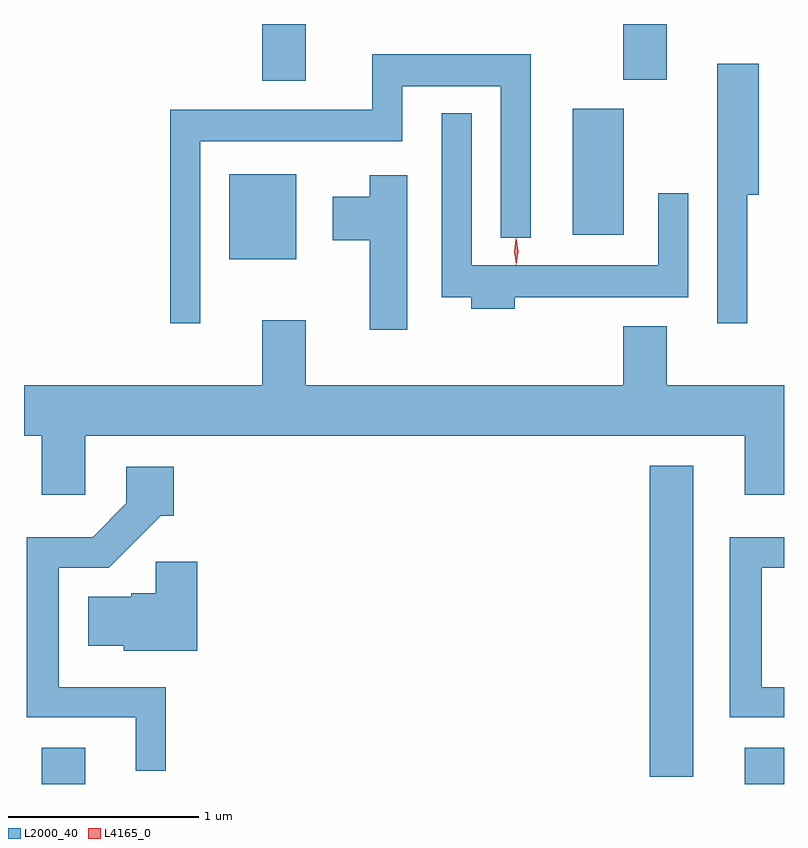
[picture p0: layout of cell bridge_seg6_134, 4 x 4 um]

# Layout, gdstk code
import gdstk
lib = gdstk.Library(unit=1e-6, precision=1e-09)
def R(c, l, rs):  # rectangles x0, y0, x1, y1
    for r in rs: c.add(gdstk.rectangle(r[:2], r[2:], *l))
def P(c, l, *ps):  # polygons
    for p in ps: c.add(gdstk.Polygon(p, *l))
L2000_40 = (2000, 40)
L4165_0 = (4165, 0)

bridge_seg6_134 = lib.new_cell('bridge_seg6_134')
R(bridge_seg6_134, L2000_40, [(1178.161,1625.904,1178.389,1626.094), (1181.861,1625.904,1182.067,1626.094), (1181.361,1625.941,1181.589,1627.579), (1179.146,1628.666,1179.499,1629.114), (1180.956,1628.796,1181.224,1629.459), (1179.321,1629.606,1179.549,1629.904), (1181.221,1629.611,1181.449,1629.904)])
P(bridge_seg6_134, L2000_40, [(1178.994,1629.286),(1180.059,1629.286),(1180.059,1629.576),(1180.576,1629.576),(1180.576,1628.778),(1180.734,1628.778),(1180.734,1629.744),(1179.901,1629.744),(1179.901,1629.454),(1178.836,1629.454),(1178.836,1628.328),(1178.994,1628.328)],
  [(1181.874,1629.006),(1181.934,1629.006),(1181.934,1629.694),(1181.716,1629.694),(1181.716,1628.328),(1181.874,1628.328)],
  [(1180.649,1628.466),(1181.564,1628.466),(1181.564,1629.013),(1181.406,1629.013),(1181.406,1628.634),(1180.424,1628.634),(1180.424,1629.433),(1180.266,1629.433),(1180.266,1628.466),(1180.421,1628.466),(1180.421,1628.406),(1180.649,1628.406)],
  [(1180.084,1629.109),(1179.886,1629.109),(1179.886,1628.994),(1179.691,1628.994),(1179.691,1628.766),(1179.886,1628.766),(1179.886,1628.296),(1180.084,1628.296)],
  [(1178.389,1627.736),(1181.861,1627.736),(1181.861,1627.426),(1182.067,1627.426),(1182.067,1628.004),(1181.449,1628.004),(1181.449,1628.314),(1181.221,1628.314),(1181.221,1628.004),(1179.549,1628.004),(1179.549,1628.344),(1179.321,1628.344),(1179.321,1628.004),(1178.067,1628.004),(1178.067,1627.736),(1178.161,1627.736),(1178.161,1627.426),(1178.389,1627.426)],
  [(1178.814,1626.414),(1178.249,1626.414),(1178.249,1627.041),(1178.512,1627.041),(1178.787,1627.316),(1178.854,1627.316),(1178.854,1627.574),(1178.606,1627.574),(1178.606,1627.382),(1178.429,1627.204),(1178.081,1627.204),(1178.081,1626.256),(1178.656,1626.256),(1178.656,1625.973),(1178.814,1625.973)],
  [(1182.067,1626.414),(1181.949,1626.414),(1181.949,1627.041),(1182.067,1627.041),(1182.067,1627.204),(1181.781,1627.204),(1181.781,1626.256),(1182.067,1626.256)],
  [(1178.979,1627.074),(1178.761,1627.074),(1178.761,1626.909),(1178.631,1626.909),(1178.631,1626.889),(1178.406,1626.889),(1178.406,1626.631),(1178.591,1626.631),(1178.591,1626.606),(1178.979,1626.606)])
P(bridge_seg6_134, L4165_0, [(1180.657,1628.637),(1180.657,1628.637),(1180.647,1628.707),(1180.657,1628.776),(1180.657,1628.776),(1180.658,1628.776),(1180.667,1628.707),(1180.658,1628.637)],
  [(1180.657,1628.639),(1180.657,1628.64),(1180.647,1628.706),(1180.656,1628.772),(1180.657,1628.773),(1180.658,1628.772),(1180.667,1628.706),(1180.658,1628.64)])

lib.write_gds('bridge_seg6_134.gds')
